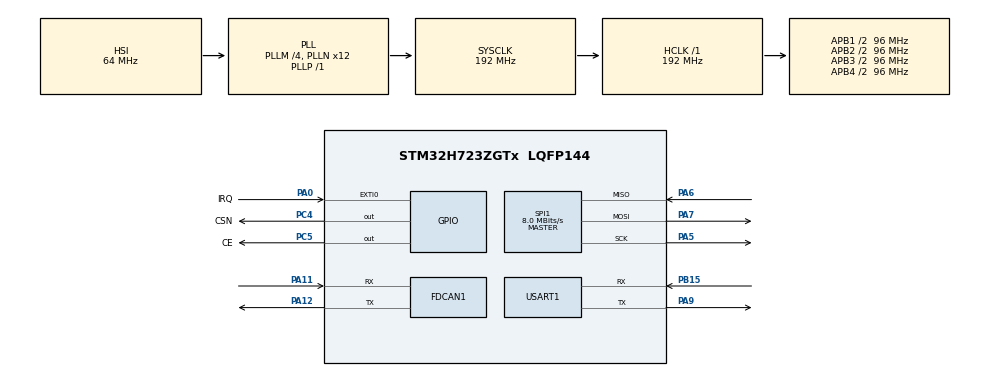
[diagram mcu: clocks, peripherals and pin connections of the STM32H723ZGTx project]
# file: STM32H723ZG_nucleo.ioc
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CORTEX_M7.default_mode_Activation=1
Dma.Request0=SPI1_TX
Dma.Request1=SPI1_RX
Dma.SPI1_RX.1.Direction=DMA_PERIPH_TO_MEMORY
Dma.SPI1_RX.1.EventEnable=DISABLE
Dma.SPI1_RX.1.FIFOMode=DMA_FIFOMODE_DISABLE
Dma.SPI1_RX.1.Instance=DMA1_Stream1
Dma.SPI1_RX.1.MemDataAlignment=DMA_MDATAALIGN_BYTE
Dma.SPI1_RX.1.MemInc=DMA_MINC_ENABLE
Dma.SPI1_RX.1.Mode=DMA_NORMAL
Dma.SPI1_RX.1.PeriphDataAlignment=DMA_PDATAALIGN_BYTE
Dma.SPI1_RX.1.PeriphInc=DMA_PINC_DISABLE
Dma.SPI1_RX.1.Polarity=HAL_DMAMUX_REQ_GEN_RISING
Dma.SPI1_RX.1.Priority=DMA_PRIORITY_LOW
Dma.SPI1_RX.1.RequestNumber=1
Dma.SPI1_RX.1.SignalID=NONE
Dma.SPI1_RX.1.SyncEnable=DISABLE
Dma.SPI1_RX.1.SyncPolarity=HAL_DMAMUX_SYNC_NO_EVENT
Dma.SPI1_RX.1.SyncRequestNumber=1
Dma.SPI1_RX.1.SyncSignalID=NONE
Dma.SPI1_TX.0.Direction=DMA_MEMORY_TO_PERIPH
Dma.SPI1_TX.0.EventEnable=DISABLE
Dma.SPI1_TX.0.FIFOMode=DMA_FIFOMODE_DISABLE
Dma.SPI1_TX.0.Instance=DMA1_Stream0
Dma.SPI1_TX.0.MemDataAlignment=DMA_MDATAALIGN_BYTE
Dma.SPI1_TX.0.MemInc=DMA_MINC_ENABLE
Dma.SPI1_TX.0.Mode=DMA_NORMAL
Dma.SPI1_TX.0.PeriphDataAlignment=DMA_PDATAALIGN_BYTE
Dma.SPI1_TX.0.PeriphInc=DMA_PINC_DISABLE
Dma.SPI1_TX.0.Polarity=HAL_DMAMUX_REQ_GEN_RISING
Dma.SPI1_TX.0.Priority=DMA_PRIORITY_LOW
Dma.SPI1_TX.0.RequestNumber=1
Dma.SPI1_TX.0.SignalID=NONE
Dma.SPI1_TX.0.SyncEnable=DISABLE
Dma.SPI1_TX.0.SyncPolarity=HAL_DMAMUX_SYNC_NO_EVENT
Dma.SPI1_TX.0.SyncRequestNumber=1
Dma.SPI1_TX.0.SyncSignalID=NONE
FDCAN1.CalculateBaudRateNominal=333333
FDCAN1.CalculateTimeBitNominal=3000
FDCAN1.CalculateTimeQuantumNominal=1000.0
FREERTOS.Tasks01=defaultTask,24,128,StartDefaultTask,Default,NULL,Dynamic,NULL,NULL;motorControl,24,128,StartMotorControl,Default,NULL,Dynamic,NULL,NULL;radioComms,24,128,StartRadioComms,Default,NULL,Dynamic,NULL,NULL
Mcu.Family=STM32H7
Mcu.Name=STM32H723ZGTx
Mcu.Package=LQFP144
NUCLEO-H723ZG.BUTTON=1
NUCLEO-H723ZG.LD1=true
NUCLEO-H723ZG.LD2=true
NUCLEO-H723ZG.LD3=true
NUCLEO-H723ZG.VCP=true
NVIC.DMA1_Stream0_IRQn=true\:5\:0\:false\:false\:true\:true\:false\:true\:true
NVIC.DMA1_Stream1_IRQn=true\:5\:0\:false\:false\:true\:true\:false\:true\:true
NVIC.EXTI0_IRQn=true\:5\:0\:false\:false\:true\:true\:true\:true\:true
NVIC.EXTI15_10_IRQn=true\:5\:0\:false\:false\:true\:true\:false\:true\:true
NVIC.FDCAN1_IT0_IRQn=true\:5\:0\:false\:false\:true\:true\:true\:true\:true
NVIC.FDCAN1_IT1_IRQn=true\:5\:0\:false\:false\:true\:true\:true\:true\:true
NVIC.PriorityGroup=NVIC_PRIORITYGROUP_4
NVIC.SPI1_IRQn=true\:5\:0\:false\:false\:true\:true\:true\:true\:true
NVIC.TIM1_UP_IRQn=true\:15\:0\:false\:false\:true\:false\:false\:true\:true
NVIC.TimeBase=TIM1_UP_IRQn
NVIC.TimeBaseIP=TIM1
NVIC.USART1_IRQn=true\:5\:0\:false\:false\:true\:true\:true\:true\:true
PA0.GPIO_Label=IRQ
PA0.GPIO_ModeDefaultEXTI=GPIO_MODE_IT_FALLING
PA0.Signal=GPXTI0
PA11.Mode=FDCAN_Activate
PA11.Signal=FDCAN1_RX
PA12.Mode=FDCAN_Activate
PA12.Signal=FDCAN1_TX
PA13(JTMS/SWDIO).GPIO_Label=SWDIO
PA13(JTMS/SWDIO).Mode=Serial_Wire
PA13(JTMS/SWDIO).Signal=DEBUG_JTMS-SWDIO
PA14(JTCK/SWCLK).GPIO_Label=SWCLK
PA14(JTCK/SWCLK).Mode=Serial_Wire
PA14(JTCK/SWCLK).Signal=DEBUG_JTCK-SWCLK
PA5.Mode=Full_Duplex_Master
PA5.Signal=SPI1_SCK
PA6.Mode=Full_Duplex_Master
PA6.Signal=SPI1_MISO
PA7.Mode=Full_Duplex_Master
PA7.Signal=SPI1_MOSI
PA9.Mode=Asynchronous
PA9.Signal=USART1_TX
PB15.Mode=Asynchronous
PB15.Signal=USART1_RX
PC14-OSC32_IN.Signal=RCC_OSC32_IN
PC15-OSC32_OUT.Signal=RCC_OSC32_OUT
PC4.GPIO_Label=CSN
PC4.GPIO_Speed=GPIO_SPEED_FREQ_HIGH
PC4.Signal=GPIO_Output
PC5.GPIO_Label=CE
PC5.GPIO_Speed=GPIO_SPEED_FREQ_HIGH
PC5.Signal=GPIO_Output
PD8.Signal=USART3_TX
PD9.Signal=USART3_RX
ProjectManager.HeapSize=0x200
ProjectManager.StackSize=0x400
ProjectManager.TargetToolchain=CMake
RCC.ADCFreq_Value=608000000
RCC.APB1Freq_Value=96000000
RCC.APB2Freq_Value=96000000
RCC.APB3Freq_Value=96000000
RCC.APB4Freq_Value=96000000
RCC.CortexFreq_Value=192000000
RCC.D1PPRE=RCC_APB3_DIV2
RCC.D2PPRE1=RCC_APB1_DIV2
RCC.D2PPRE2=RCC_APB2_DIV2
RCC.D3PPRE=RCC_APB4_DIV2
RCC.DIVM1=4
RCC.DIVM2=1
RCC.DIVN1=12
RCC.DIVN2=19
RCC.DIVP1=1
RCC.DIVQ1=12
RCC.HCLKFreq_Value=192000000
RCC.HSE_VALUE=8000000
RCC.PLLFRACN=0
RCC.SYSCLKFreq_VALUE=192000000
RCC.SYSCLKSource=RCC_SYSCLKSOURCE_PLLCLK
RCC.USBCLockSelection=RCC_USBCLKSOURCE_HSI48
RCC.USBFreq_Value=48000000
SPI1.CalculateBaudRate=8.0 MBits/s
SPI1.Direction=SPI_DIRECTION_2LINES
SPI1.Mode=SPI_MODE_MASTER
SPI1.VirtualType=VM_MASTER
USART1.VirtualMode-Asynchronous=VM_ASYNC
VP_FREERTOS_VS_CMSIS_V2.Mode=CMSIS_V2
VP_MEMORYMAP_VS_MEMORYMAP.Mode=CurAppReg
VP_NUCLEO-H723ZG_VS_BSP_COMMON.Mode=COMMON
VP_SYS_VS_tim1.Mode=TIM1
VP_TIM2_VS_ClockSourceINT.Mode=Internal
board=NUCLEO-H723ZG

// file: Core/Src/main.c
/* USER CODE BEGIN Header */
/**
  ******************************************************************************
  * @file           : main.c
  * @brief          : Main program body
  ******************************************************************************
  * @attention
  *
  * Copyright (c) 2026 STMicroelectronics.
  * All rights reserved.
  *
  * This software is licensed under terms that can be found in the LICENSE file
  * in the root directory of this software component.
  * If no LICENSE file comes with this software, it is provided AS-IS.
  *
  ******************************************************************************
  */
/* USER CODE END Header */
#include "main.h"
#include "FreeRTOS.h"
#include "cmsis_os2.h"

/* USER CODE BEGIN Includes */
#include "moteus.h"
#include "moteus_can.h"
#include "nrf24_commands.h"
#include "nrf24_registers.h"
#include "string.h"
/* USER CODE END Includes */

/* USER CODE BEGIN PD */
#define NUM_MOTORS 5
#define PLD_SIZE 32 // payload size is 32 bytes
#define tx // for preprocessor directive conditionals
/* USER CODE END PD */

COM_InitTypeDef BspCOMInit;

FDCAN_HandleTypeDef hfdcan1;

SPI_HandleTypeDef hspi1;
DMA_HandleTypeDef hdma_spi1_tx;
DMA_HandleTypeDef hdma_spi1_rx;

TIM_HandleTypeDef htim2;

UART_HandleTypeDef huart1;

/* Definitions for defaultTask */
osThreadId_t defaultTaskHandle;
const osThreadAttr_t defaultTask_attributes = {
  .name = "defaultTask",
  .stack_size = 128 * 4,
  .priority = (osPriority_t) osPriorityNormal,
};
/* Definitions for motorControl */
osThreadId_t motorControlHandle;
const osThreadAttr_t motorControl_attributes = {
  .name = "motorControl",
  .stack_size = 128 * 4,
  .priority = (osPriority_t) osPriorityNormal,
};
/* Definitions for radioComms */
osThreadId_t radioCommsHandle;
const osThreadAttr_t radioComms_attributes = {
  .name = "radioComms",
  .stack_size = 128 * 4,
  .priority = (osPriority_t) osPriorityNormal,
};
/* USER CODE BEGIN PV */
static moteus_motor_t* motors[NUM_MOTORS];
uint8_t TX_Buffer [] = "A" ; // DATA to send
/* USER CODE END PV */

void SystemClock_Config(void);
static void MPU_Config(void);
static void MX_GPIO_Init(void);
static void MX_DMA_Init(void);
static void MX_FDCAN1_Init(void);
static void MX_SPI1_Init(void);
static void MX_TIM2_Init(void);
static void MX_USART1_UART_Init(void);
void StartDefaultTask(void *argument);
void StartMotorControl(void *argument);
void StartRadioComms(void *argument);

int main(void)
{

  /* MPU Configuration--------------------------------------------------------*/
  MPU_Config();

  /* MCU Configuration--------------------------------------------------------*/

  /* Reset of all peripherals, Initializes the Flash interface and the Systick. */
  HAL_Init();

  /* Configure the system clock */
  SystemClock_Config();

  /* Initialize all configured peripherals */
  MX_GPIO_Init();
  MX_DMA_Init();
  MX_FDCAN1_Init();
  MX_SPI1_Init();
  MX_TIM2_Init();
  MX_USART1_UART_Init();
  /* USER CODE BEGIN 2 */
  // TODO: use this as an example for SPI communication and delete later
  HAL_SPI_Transmit_DMA(&hspi1, TX_Buffer, 1);; // Sending in DMA mode
  HAL_Delay(100);
  /* USER CODE END 2 */

  /* Init scheduler */
  osKernelInitialize();

  /* Create the thread(s) */
  /* creation of defaultTask */
  defaultTaskHandle = osThreadNew(StartDefaultTask, NULL, &defaultTask_attributes);

  /* creation of motorControl */
  motorControlHandle = osThreadNew(StartMotorControl, NULL, &motorControl_attributes);

  /* creation of radioComms */
  radioCommsHandle = osThreadNew(StartRadioComms, NULL, &radioComms_attributes);

  /* Initialize leds */
  BSP_LED_Init(LED_GREEN);
  BSP_LED_Init(LED_YELLOW);
  BSP_LED_Init(LED_RED);

  /* Initialize USER push-button, will be used to trigger an interrupt each time it's pressed.*/
  BSP_PB_Init(BUTTON_USER, BUTTON_MODE_EXTI);

  /* Initialize COM1 port (115200, 8 bits (7-bit data + 1 stop bit), no parity */
  BspCOMInit.BaudRate   = 115200;
  BspCOMInit.WordLength = COM_WORDLENGTH_8B;
  BspCOMInit.StopBits   = COM_STOPBITS_1;
  BspCOMInit.Parity     = COM_PARITY_NONE;
  BspCOMInit.HwFlowCtl  = COM_HWCONTROL_NONE;
  if (BSP_COM_Init(COM1, &BspCOMInit) != BSP_ERROR_NONE)
  {
    Error_Handler();
  }

  /* Start scheduler */
  osKernelStart();

  /* We should never get here as control is now taken by the scheduler */

  /* Infinite loop */
  while (1)
  {

  }
}

void SystemClock_Config(void)
{
  RCC_OscInitTypeDef RCC_OscInitStruct = {0};
  RCC_ClkInitTypeDef RCC_ClkInitStruct = {0};

  /** Supply configuration update enable
  */
  HAL_PWREx_ConfigSupply(PWR_LDO_SUPPLY);

  /** Configure the main internal regulator output voltage
  */
  __HAL_PWR_VOLTAGESCALING_CONFIG(PWR_REGULATOR_VOLTAGE_SCALE1);

  while(!__HAL_PWR_GET_FLAG(PWR_FLAG_VOSRDY)) {}

  /** Initializes the RCC Oscillators according to the specified parameters
  * in the RCC_OscInitTypeDef structure.
  */
  RCC_OscInitStruct.OscillatorType = RCC_OSCILLATORTYPE_HSI;
  RCC_OscInitStruct.HSIState = RCC_HSI_DIV1;
  RCC_OscInitStruct.HSICalibrationValue = 64;
  RCC_OscInitStruct.PLL.PLLState = RCC_PLL_ON;
  RCC_OscInitStruct.PLL.PLLSource = RCC_PLLSOURCE_HSI;
  RCC_OscInitStruct.PLL.PLLM = 4;
  RCC_OscInitStruct.PLL.PLLN = 12;
  RCC_OscInitStruct.PLL.PLLP = 1;
  RCC_OscInitStruct.PLL.PLLQ = 12;
  RCC_OscInitStruct.PLL.PLLR = 2;
  RCC_OscInitStruct.PLL.PLLRGE = RCC_PLL1VCIRANGE_3;
  RCC_OscInitStruct.PLL.PLLVCOSEL = RCC_PLL1VCOWIDE;
  RCC_OscInitStruct.PLL.PLLFRACN = 0;
  if (HAL_RCC_OscConfig(&RCC_OscInitStruct) != HAL_OK)
  {
    Error_Handler();
  }

  /** Initializes the CPU, AHB and APB buses clocks
  */
  RCC_ClkInitStruct.ClockType = RCC_CLOCKTYPE_HCLK|RCC_CLOCKTYPE_SYSCLK
                              |RCC_CLOCKTYPE_PCLK1|RCC_CLOCKTYPE_PCLK2
                              |RCC_CLOCKTYPE_D3PCLK1|RCC_CLOCKTYPE_D1PCLK1;
  RCC_ClkInitStruct.SYSCLKSource = RCC_SYSCLKSOURCE_PLLCLK;
  RCC_ClkInitStruct.SYSCLKDivider = RCC_SYSCLK_DIV1;
  RCC_ClkInitStruct.AHBCLKDivider = RCC_HCLK_DIV1;
  RCC_ClkInitStruct.APB3CLKDivider = RCC_APB3_DIV2;
  RCC_ClkInitStruct.APB1CLKDivider = RCC_APB1_DIV2;
  RCC_ClkInitStruct.APB2CLKDivider = RCC_APB2_DIV2;
  RCC_ClkInitStruct.APB4CLKDivider = RCC_APB4_DIV2;

  if (HAL_RCC_ClockConfig(&RCC_ClkInitStruct, FLASH_LATENCY_2) != HAL_OK)
  {
    Error_Handler();
  }
}

static void MX_FDCAN1_Init(void)
{

  hfdcan1.Instance = FDCAN1;
  hfdcan1.Init.FrameFormat = FDCAN_FRAME_CLASSIC;
  hfdcan1.Init.Mode = FDCAN_MODE_NORMAL;
  hfdcan1.Init.AutoRetransmission = DISABLE;
  hfdcan1.Init.TransmitPause = DISABLE;
  hfdcan1.Init.ProtocolException = DISABLE;
  hfdcan1.Init.NominalPrescaler = 16;
  hfdcan1.Init.NominalSyncJumpWidth = 1;
  hfdcan1.Init.NominalTimeSeg1 = 1;
  hfdcan1.Init.NominalTimeSeg2 = 1;
  hfdcan1.Init.DataPrescaler = 1;
  hfdcan1.Init.DataSyncJumpWidth = 1;
  hfdcan1.Init.DataTimeSeg1 = 1;
  hfdcan1.Init.DataTimeSeg2 = 1;
  hfdcan1.Init.MessageRAMOffset = 0;
  hfdcan1.Init.StdFiltersNbr = 0;
  hfdcan1.Init.ExtFiltersNbr = 0;
  hfdcan1.Init.RxFifo0ElmtsNbr = 0;
  hfdcan1.Init.RxFifo0ElmtSize = FDCAN_DATA_BYTES_8;
  hfdcan1.Init.RxFifo1ElmtsNbr = 0;
  hfdcan1.Init.RxFifo1ElmtSize = FDCAN_DATA_BYTES_8;
  hfdcan1.Init.RxBuffersNbr = 0;
  hfdcan1.Init.RxBufferSize = FDCAN_DATA_BYTES_8;
  hfdcan1.Init.TxEventsNbr = 0;
  hfdcan1.Init.TxBuffersNbr = 0;
  hfdcan1.Init.TxFifoQueueElmtsNbr = 0;
  hfdcan1.Init.TxFifoQueueMode = FDCAN_TX_FIFO_OPERATION;
  hfdcan1.Init.TxElmtSize = FDCAN_DATA_BYTES_8;
  if (HAL_FDCAN_Init(&hfdcan1) != HAL_OK)
  {
    Error_Handler();
  }

}

static void MX_SPI1_Init(void)
{

  /* SPI1 parameter configuration*/
  hspi1.Instance = SPI1;
  hspi1.Init.Mode = SPI_MODE_MASTER;
  hspi1.Init.Direction = SPI_DIRECTION_2LINES;
  hspi1.Init.DataSize = SPI_DATASIZE_4BIT;
  hspi1.Init.CLKPolarity = SPI_POLARITY_LOW;
  hspi1.Init.CLKPhase = SPI_PHASE_1EDGE;
  hspi1.Init.NSS = SPI_NSS_SOFT;
  hspi1.Init.BaudRatePrescaler = SPI_BAUDRATEPRESCALER_2;
  hspi1.Init.FirstBit = SPI_FIRSTBIT_MSB;
  hspi1.Init.TIMode = SPI_TIMODE_DISABLE;
  hspi1.Init.CRCCalculation = SPI_CRCCALCULATION_DISABLE;
  hspi1.Init.CRCPolynomial = 0x0;
  hspi1.Init.NSSPMode = SPI_NSS_PULSE_ENABLE;
  hspi1.Init.NSSPolarity = SPI_NSS_POLARITY_LOW;
  hspi1.Init.FifoThreshold = SPI_FIFO_THRESHOLD_01DATA;
  hspi1.Init.TxCRCInitializationPattern = SPI_CRC_INITIALIZATION_ALL_ZERO_PATTERN;
  hspi1.Init.RxCRCInitializationPattern = SPI_CRC_INITIALIZATION_ALL_ZERO_PATTERN;
  hspi1.Init.MasterSSIdleness = SPI_MASTER_SS_IDLENESS_00CYCLE;
  hspi1.Init.MasterInterDataIdleness = SPI_MASTER_INTERDATA_IDLENESS_00CYCLE;
  hspi1.Init.MasterReceiverAutoSusp = SPI_MASTER_RX_AUTOSUSP_DISABLE;
  hspi1.Init.MasterKeepIOState = SPI_MASTER_KEEP_IO_STATE_DISABLE;
  hspi1.Init.IOSwap = SPI_IO_SWAP_DISABLE;
  if (HAL_SPI_Init(&hspi1) != HAL_OK)
  {
    Error_Handler();
  }

}

static void MX_TIM2_Init(void)
{

  TIM_ClockConfigTypeDef sClockSourceConfig = {0};
  TIM_MasterConfigTypeDef sMasterConfig = {0};

  htim2.Instance = TIM2;
  htim2.Init.Prescaler = 0;
  htim2.Init.CounterMode = TIM_COUNTERMODE_UP;
  htim2.Init.Period = 4294967295;
  htim2.Init.ClockDivision = TIM_CLOCKDIVISION_DIV1;
  htim2.Init.AutoReloadPreload = TIM_AUTORELOAD_PRELOAD_DISABLE;
  if (HAL_TIM_Base_Init(&htim2) != HAL_OK)
  {
    Error_Handler();
  }
  sClockSourceConfig.ClockSource = TIM_CLOCKSOURCE_INTERNAL;
  if (HAL_TIM_ConfigClockSource(&htim2, &sClockSourceConfig) != HAL_OK)
  {
    Error_Handler();
  }
  sMasterConfig.MasterOutputTrigger = TIM_TRGO_RESET;
  sMasterConfig.MasterSlaveMode = TIM_MASTERSLAVEMODE_DISABLE;
  if (HAL_TIMEx_MasterConfigSynchronization(&htim2, &sMasterConfig) != HAL_OK)
  {
    Error_Handler();
  }

}

static void MX_USART1_UART_Init(void)
{

  huart1.Instance = USART1;
  huart1.Init.BaudRate = 115200;
  huart1.Init.WordLength = UART_WORDLENGTH_8B;
  huart1.Init.StopBits = UART_STOPBITS_1;
  huart1.Init.Parity = UART_PARITY_NONE;
  huart1.Init.Mode = UART_MODE_TX_RX;
  huart1.Init.HwFlowCtl = UART_HWCONTROL_NONE;
  huart1.Init.OverSampling = UART_OVERSAMPLING_16;
  huart1.Init.OneBitSampling = UART_ONE_BIT_SAMPLE_DISABLE;
  huart1.Init.ClockPrescaler = UART_PRESCALER_DIV1;
  huart1.AdvancedInit.AdvFeatureInit = UART_ADVFEATURE_NO_INIT;
  if (HAL_UART_Init(&huart1) != HAL_OK)
  {
    Error_Handler();
  }
  if (HAL_UARTEx_SetTxFifoThreshold(&huart1, UART_TXFIFO_THRESHOLD_1_8) != HAL_OK)
  {
    Error_Handler();
  }
  if (HAL_UARTEx_SetRxFifoThreshold(&huart1, UART_RXFIFO_THRESHOLD_1_8) != HAL_OK)
  {
    Error_Handler();
  }
  if (HAL_UARTEx_DisableFifoMode(&huart1) != HAL_OK)
  {
    Error_Handler();
  }

}

static void MX_DMA_Init(void)
{

  /* DMA controller clock enable */
  __HAL_RCC_DMA1_CLK_ENABLE();

  /* DMA interrupt init */
  /* DMA1_Stream0_IRQn interrupt configuration */
  HAL_NVIC_SetPriority(DMA1_Stream0_IRQn, 5, 0);
  HAL_NVIC_EnableIRQ(DMA1_Stream0_IRQn);
  /* DMA1_Stream1_IRQn interrupt configuration */
  HAL_NVIC_SetPriority(DMA1_Stream1_IRQn, 5, 0);
  HAL_NVIC_EnableIRQ(DMA1_Stream1_IRQn);

}

static void MX_GPIO_Init(void)
{
  GPIO_InitTypeDef GPIO_InitStruct = {0};

  /* GPIO Ports Clock Enable */
  __HAL_RCC_GPIOC_CLK_ENABLE();
  __HAL_RCC_GPIOA_CLK_ENABLE();
  __HAL_RCC_GPIOB_CLK_ENABLE();

  /*Configure GPIO pin Output Level */
  HAL_GPIO_WritePin(GPIOC, CSN_Pin|CE_Pin, GPIO_PIN_RESET);

  /*Configure GPIO pin : IRQ_Pin */
  GPIO_InitStruct.Pin = IRQ_Pin;
  GPIO_InitStruct.Mode = GPIO_MODE_IT_FALLING;
  GPIO_InitStruct.Pull = GPIO_NOPULL;
  HAL_GPIO_Init(IRQ_GPIO_Port, &GPIO_InitStruct);

  /*Configure GPIO pins : CSN_Pin CE_Pin */
  GPIO_InitStruct.Pin = CSN_Pin|CE_Pin;
  GPIO_InitStruct.Mode = GPIO_MODE_OUTPUT_PP;
  GPIO_InitStruct.Pull = GPIO_NOPULL;
  GPIO_InitStruct.Speed = GPIO_SPEED_FREQ_HIGH;
  HAL_GPIO_Init(GPIOC, &GPIO_InitStruct);

  /* EXTI interrupt init*/
  HAL_NVIC_SetPriority(IRQ_EXTI_IRQn, 5, 0);
  HAL_NVIC_EnableIRQ(IRQ_EXTI_IRQn);

}

/* USER CODE BEGIN 4 */

void HAL_FDCAN_RxFifo0Callback(FDCAN_HandleTypeDef *hfdcan, uint32_t RxFifo0ITs)
{
    (void)RxFifo0ITs;
    moteus_fdcan_rx_callback(hfdcan);
}

/**
 * @brief Initialize all motors
 */
bool motors_init(void)
{
    moteus_can_init(&hfdcan1);

    for (int i = 0; i < NUM_MOTORS; i++) {
        motors[i] = moteus_init(&hfdcan1, i + 1);  // IDs 1, 2, 3
        if (!motors[i]) {
            printf("Failed to init motor %d\n", i + 1);
            return false;
        }
    }
    return true;
}

/**
 * @brief Poll all motors, returns number of new responses
 */
int poll_all(void)
{
    int received = 0;
    for (int i = 0; i < NUM_MOTORS; i++) {
        if (moteus_poll(motors[i])) {
            received++;
        }
    }
    return received;
}

/**
 * @brief Wait for all motors to respond with timeout
 */
bool wait_all(uint32_t timeout_ms)
{
    uint32_t start = HAL_GetTick();
    int received = 0;

    while (received < NUM_MOTORS) {
        if (HAL_GetTick() - start > timeout_ms) {
            return false;
        }
        received += poll_all();
    }
    return true;
}

/**
 * @brief Example: Query all motors
 */
void query_all(void)
{
    // Send queries (non-blocking)
    for (int i = 0; i < NUM_MOTORS; i++) {
        moteus_begin_query(motors[i]);
    }

    // Wait for responses
    if (wait_all(50)) {
        for (int i = 0; i < NUM_MOTORS; i++) {
            printf("Motor %d: pos=%.3f vel=%.3f\n",
                   i + 1,
                   motors[i]->result.position,
                   motors[i]->result.velocity);
        }
    }
}

/**
 * @brief Example: Control loop sending different torques to each motor
 *
 * Call from timer interrupt at your control rate (e.g., 1kHz).
 */
void control_loop_tick(float* target_positions)
{
    // Check for responses from previous cycle
    poll_all();

    // Compute and send torque for each motor
    for (int i = 0; i < NUM_MOTORS; i++) {
        float pos = motors[i]->result.position;
        float vel = motors[i]->result.velocity;

        // Simple PD control (each motor may have different target)
        float error = target_positions[i] - pos;
        float torque = 10.0f * error - 0.5f * vel;

        // Clamp
        if (torque > 2.0f) torque = 2.0f;
        if (torque < -2.0f) torque = -2.0f;

        moteus_begin_torque(motors[i], torque);
    }
}

/**
 * @brief Stop all motors
 */
void stop_all(void)
{
    for (int i = 0; i < NUM_MOTORS; i++) {
        moteus_begin_stop(motors[i]);
    }
    wait_all(50);
}
/* USER CODE END 4 */

void StartDefaultTask(void *argument)
{
  for(;;)
  {
    osDelay(1);
  }
}

void StartMotorControl(void *argument)
{
  /* USER CODE BEGIN StartMotorControl */

  if (!motors_init()) {
    return;
  }

  query_all();

  // Run control loop for 5 seconds
  float targets[NUM_MOTORS] = {
    0.0f,
    0.0f,
    0.0f,
    0.0f,
    0.0f,
  };
  uint32_t start = HAL_GetTick();

  while (HAL_GetTick() - start < 5000) {
    control_loop_tick(targets);
    osDelay(1);  // 1kHz
  }

  stop_all();
  /* Infinite loop */
  for(;;)
  {
    osDelay(1);
  }
  /* USER CODE END StartMotorControl */
}

void StartRadioComms(void *argument)
{
  for(;;)
  {
    osDelay(1);
  }
}

 /* MPU Configuration */

void MPU_Config(void)
{
  MPU_Region_InitTypeDef MPU_InitStruct = {0};

  /* Disables the MPU */
  HAL_MPU_Disable();

  /** Initializes and configures the Region and the memory to be protected
  */
  MPU_InitStruct.Enable = MPU_REGION_ENABLE;
  MPU_InitStruct.Number = MPU_REGION_NUMBER0;
  MPU_InitStruct.BaseAddress = 0x0;
  MPU_InitStruct.Size = MPU_REGION_SIZE_4GB;
  MPU_InitStruct.SubRegionDisable = 0x87;
  MPU_InitStruct.TypeExtField = MPU_TEX_LEVEL0;
  MPU_InitStruct.AccessPermission = MPU_REGION_NO_ACCESS;
  MPU_InitStruct.DisableExec = MPU_INSTRUCTION_ACCESS_DISABLE;
  MPU_InitStruct.IsShareable = MPU_ACCESS_SHAREABLE;
  MPU_InitStruct.IsCacheable = MPU_ACCESS_NOT_CACHEABLE;
  MPU_InitStruct.IsBufferable = MPU_ACCESS_NOT_BUFFERABLE;

  HAL_MPU_ConfigRegion(&MPU_InitStruct);
  /* Enables the MPU */
  HAL_MPU_Enable(MPU_PRIVILEGED_DEFAULT);

}

void HAL_TIM_PeriodElapsedCallback(TIM_HandleTypeDef *htim)
{
  if (htim->Instance == TIM1)
  {
    HAL_IncTick();
  }
}

void Error_Handler(void)
{
  __disable_irq();
  while (1)
  {
  }
}
